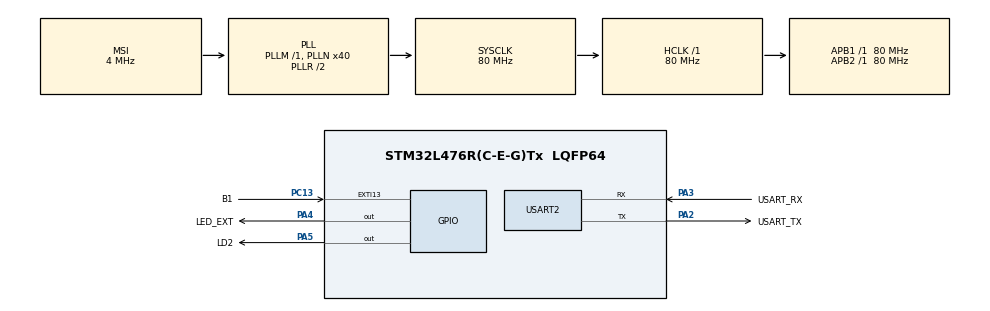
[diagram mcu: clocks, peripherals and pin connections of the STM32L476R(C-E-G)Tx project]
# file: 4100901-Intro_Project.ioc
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Mcu.Family=STM32L4
Mcu.Name=STM32L476R(C-E-G)Tx
Mcu.Package=LQFP64
NVIC.EXTI15_10_IRQn=true\:0\:0\:false\:false\:true\:true\:true\:true
NVIC.PriorityGroup=NVIC_PRIORITYGROUP_4
NVIC.USART2_IRQn=true\:0\:0\:false\:false\:true\:true\:true\:true
PA13\ (JTMS-SWDIO).GPIO_Label=TMS
PA13\ (JTMS-SWDIO).Mode=Serial_Wire
PA13\ (JTMS-SWDIO).Signal=SYS_JTMS-SWDIO
PA14\ (JTCK-SWCLK).GPIO_Label=TCK
PA14\ (JTCK-SWCLK).Mode=Serial_Wire
PA14\ (JTCK-SWCLK).Signal=SYS_JTCK-SWCLK
PA2.GPIO_Label=USART_TX
PA2.GPIO_Mode=GPIO_MODE_AF_PP
PA2.GPIO_PuPd=GPIO_NOPULL
PA2.GPIO_Speed=GPIO_SPEED_FREQ_VERY_HIGH
PA2.Mode=Asynchronous
PA2.Signal=USART2_TX
PA3.GPIO_Label=USART_RX
PA3.GPIO_Mode=GPIO_MODE_AF_PP
PA3.GPIO_PuPd=GPIO_NOPULL
PA3.GPIO_Speed=GPIO_SPEED_FREQ_VERY_HIGH
PA3.Mode=Asynchronous
PA3.Signal=USART2_RX
PA4.GPIO_Label=LED_EXT
PA4.Signal=GPIO_Output
PA5.GPIO_Label=LD2
PA5.GPIO_ModeDefaultOutputPP=GPIO_MODE_OUTPUT_PP
PA5.GPIO_PuPd=GPIO_NOPULL
PA5.GPIO_Speed=GPIO_SPEED_FREQ_LOW
PA5.Signal=GPIO_Output
PB3\ (JTDO-TRACESWO).GPIO_Label=SWO
PB3\ (JTDO-TRACESWO).Signal=SYS_JTDO-SWO
PC13.GPIO_Label=B1
PC13.GPIO_ModeDefaultEXTI=GPIO_MODE_IT_FALLING
PC13.GPIO_PuPd=GPIO_NOPULL
PC13.Signal=GPXTI13
PC14-OSC32_IN\ (PC14).Mode=LSE-External-Oscillator
PC14-OSC32_IN\ (PC14).Signal=RCC_OSC32_IN
PC15-OSC32_OUT\ (PC15).Mode=LSE-External-Oscillator
PC15-OSC32_OUT\ (PC15).Signal=RCC_OSC32_OUT
PH0-OSC_IN\ (PH0).Signal=RCC_OSC_IN
PH1-OSC_OUT\ (PH1).Signal=RCC_OSC_OUT
ProjectManager.HeapSize=0x200
ProjectManager.StackSize=0x400
ProjectManager.TargetToolchain=CMake
RCC.ADCFreq_Value=16000000
RCC.AHBFreq_Value=80000000
RCC.APB1Freq_Value=80000000
RCC.APB1TimFreq_Value=80000000
RCC.APB2Freq_Value=80000000
RCC.APB2TimFreq_Value=80000000
RCC.CortexFreq_Value=80000000
RCC.HCLKFreq_Value=80000000
RCC.HSE_VALUE=8000000
RCC.HSI_VALUE=16000000
RCC.MSI_VALUE=4000000
RCC.PLLN=40
RCC.PREFETCH_ENABLE=1
RCC.SYSCLKFreq_VALUE=80000000
RCC.SYSCLKSource=RCC_SYSCLKSOURCE_PLLCLK
RCC.USBFreq_Value=16000000
RCC.VCOOutputFreq_Value=160000000
USART2.VirtualMode-Asynchronous=VM_ASYNC
board=NUCLEO-L476RG

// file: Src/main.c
/* USER CODE BEGIN Header */
/**
  ******************************************************************************
  * @file           : main.c
  * @brief          : Main program body
  ******************************************************************************
  * @attention
  *
  * Copyright (c) 2025 STMicroelectronics.
  * All rights reserved.
  *
  * This software is licensed under terms that can be found in the LICENSE file
  * in the root directory of this software component.
  * If no LICENSE file comes with this software, it is provided AS-IS.
  *
  ******************************************************************************
  */
/* USER CODE END Header */
#include "main.h"
#include "usart.h"
#include "gpio.h"
#include <string.h>
#include <stdio.h>

/* USER CODE BEGIN PV */
/* USER CODE BEGIN PV */
// Variables para UART
uint8_t rx_data; // Buffer para recibir 1 byte por UART
char tx_buffer[50]; // Buffer para transmitir mensajes por UART

// Variables para el botón y LED externo
volatile uint8_t button_flag = 0; // Flag para indicar que el botón fue presionado (volatile porque se modifica en interrupción)
volatile uint32_t led_ext_off_time = 0; // Momento en que se debe apagar el LED externo

/* USER CODE END PV */

void SystemClock_Config(void);

/* USER CODE BEGIN 0 */
// Callback que se ejecuta cuando se completa la recepción de 1 byte por UART2
void HAL_UART_RxCpltCallback(UART_HandleTypeDef *huart)
{
  if (huart->Instance == USART2)
  {
    uint8_t reply;

    // Si el usuario envía 'J', responder con 'A'
    if (rx_data == 'J')
    {
      reply = 'A';
    }
    else
    {
      reply = 'J';
    }

    // Enviar la respuesta por UART
    HAL_UART_Transmit(&huart2, &reply, 1, 10);

    // Rearmar la recepción por interrupción para el próximo byte
    HAL_UART_Receive_IT(&huart2, &rx_data, 1);
  }
}

// Callback que se ejecuta cuando ocurre una interrupción externa (Botón B1)
void HAL_GPIO_EXTI_Callback(uint16_t GPIO_Pin)
{
  static uint32_t last_press_time = 0; // Guarda el tick de la última pulsación válida
  uint32_t current_time = HAL_GetTick(); // Obtiene el tiempo actual en ms

  if (GPIO_Pin == B1_Pin) // Nos aseguramos que la interrupción es del B1
  {
    // Debounce sencillo: ignorar si han pasado menos de 200ms desde la última vez
    if (current_time - last_press_time > 200)
    {
      button_flag = 1; // Activamos el flag para que el bucle principal lo procese
      last_press_time = current_time; // Actualizamos el tiempo de la última pulsación válida
    }
  }
}
/* USER CODE END 0 */

int main(void)
{

  /* MCU Configuration--------------------------------------------------------*/

  /* Reset of all peripherals, Initializes the Flash interface and the Systick. */
  HAL_Init();

  /* Configure the system clock */
  SystemClock_Config();

  /* Initialize all configured peripherals */
  MX_GPIO_Init();
  MX_USART2_UART_Init();
  /* USER CODE BEGIN 2 */
/* USER CODE BEGIN 2 */
  // Habilitar la recepción UART por interrupción por primera vez
  HAL_UART_Receive_IT(&huart2, &rx_data, 1);

  // Mensaje de bienvenida por UART
  char *welcome_msg = "Sistema de Control Basico - Listo\r\n";
  HAL_UART_Transmit(&huart2, (uint8_t*)welcome_msg, strlen(welcome_msg), 100);
  /* USER CODE END 2 */
  /* USER CODE END 2 */

  /* Infinite loop */
  /* USER CODE BEGIN WHILE */
  /* USER CODE BEGIN WHILE */
  while (1)
  {
    // ---- Heartbeat LED ----
    static uint32_t last_heartbeat_time = 0;
    if (HAL_GetTick() - last_heartbeat_time >= 2000) // Pasa de Cada 500 ms a 2000 ms
    {
      HAL_GPIO_TogglePin(LD2_GPIO_Port, LD2_Pin); // Cambia el estado del LED LD2
      last_heartbeat_time = HAL_GetTick();
    }

    // ---- Procesamiento del Botón ----
    if (button_flag == 1)
    {
      // 1. Encender LED Externo
      HAL_GPIO_WritePin(LED_EXT_GPIO_Port, LED_EXT_Pin, GPIO_PIN_SET); // Enciende LED_EXT

      // 2. Calcular cuándo apagarlo (3 segundos desde ahora)
      led_ext_off_time = HAL_GetTick() + 4000;

      // 3. Enviar mensaje por UART
      sprintf(tx_buffer, "Presionaste el BOTON 1, bien!\r\n");
      HAL_UART_Transmit(&huart2, (uint8_t*)tx_buffer, strlen(tx_buffer), 100);

      // 4. Limpiar el flag
      button_flag = 0;
    }

    // ---- Control del Apagado del LED Externo ----
    // Si el tiempo de apagado es distinto de 0 (significa que está programado)
    // y ya hemos alcanzado o superado ese tiempo...
    if (led_ext_off_time != 0 && HAL_GetTick() >= led_ext_off_time)
    {
      // 1. Apagar el LED
      HAL_GPIO_WritePin(LED_EXT_GPIO_Port, LED_EXT_Pin, GPIO_PIN_RESET); // Apaga LED_EXT

      // 2. Enviar mensaje por UART (opcional)
      sprintf(tx_buffer, "LED EXT OFF (timeout).\r\n");
      HAL_UART_Transmit(&huart2, (uint8_t*)tx_buffer, strlen(tx_buffer), 100);

      // 3. Resetear el tiempo de apagado a 0 (para no volver a apagarlo)
      led_ext_off_time = 0;
    }
    /* USER CODE END WHILE */

  }
}

void SystemClock_Config(void)
{
  RCC_OscInitTypeDef RCC_OscInitStruct = {0};
  RCC_ClkInitTypeDef RCC_ClkInitStruct = {0};

  /** Configure the main internal regulator output voltage
  */
  if (HAL_PWREx_ControlVoltageScaling(PWR_REGULATOR_VOLTAGE_SCALE1) != HAL_OK)
  {
    Error_Handler();
  }

  /** Configure LSE Drive Capability
  */
  HAL_PWR_EnableBkUpAccess();
  __HAL_RCC_LSEDRIVE_CONFIG(RCC_LSEDRIVE_LOW);

  /** Initializes the RCC Oscillators according to the specified parameters
  * in the RCC_OscInitTypeDef structure.
  */
  RCC_OscInitStruct.OscillatorType = RCC_OSCILLATORTYPE_LSE|RCC_OSCILLATORTYPE_MSI;
  RCC_OscInitStruct.LSEState = RCC_LSE_ON;
  RCC_OscInitStruct.MSIState = RCC_MSI_ON;
  RCC_OscInitStruct.MSICalibrationValue = 0;
  RCC_OscInitStruct.MSIClockRange = RCC_MSIRANGE_6;
  RCC_OscInitStruct.PLL.PLLState = RCC_PLL_ON;
  RCC_OscInitStruct.PLL.PLLSource = RCC_PLLSOURCE_MSI;
  RCC_OscInitStruct.PLL.PLLM = 1;
  RCC_OscInitStruct.PLL.PLLN = 40;
  RCC_OscInitStruct.PLL.PLLP = RCC_PLLP_DIV7;
  RCC_OscInitStruct.PLL.PLLQ = RCC_PLLQ_DIV2;
  RCC_OscInitStruct.PLL.PLLR = RCC_PLLR_DIV2;
  if (HAL_RCC_OscConfig(&RCC_OscInitStruct) != HAL_OK)
  {
    Error_Handler();
  }

  /** Initializes the CPU, AHB and APB buses clocks
  */
  RCC_ClkInitStruct.ClockType = RCC_CLOCKTYPE_HCLK|RCC_CLOCKTYPE_SYSCLK
                              |RCC_CLOCKTYPE_PCLK1|RCC_CLOCKTYPE_PCLK2;
  RCC_ClkInitStruct.SYSCLKSource = RCC_SYSCLKSOURCE_PLLCLK;
  RCC_ClkInitStruct.AHBCLKDivider = RCC_SYSCLK_DIV1;
  RCC_ClkInitStruct.APB1CLKDivider = RCC_HCLK_DIV1;
  RCC_ClkInitStruct.APB2CLKDivider = RCC_HCLK_DIV1;

  if (HAL_RCC_ClockConfig(&RCC_ClkInitStruct, FLASH_LATENCY_4) != HAL_OK)
  {
    Error_Handler();
  }

  /** Enable MSI Auto calibration
  */
  HAL_RCCEx_EnableMSIPLLMode();
}

void Error_Handler(void)
{
  __disable_irq();
  while (1)
  {
  }
}
